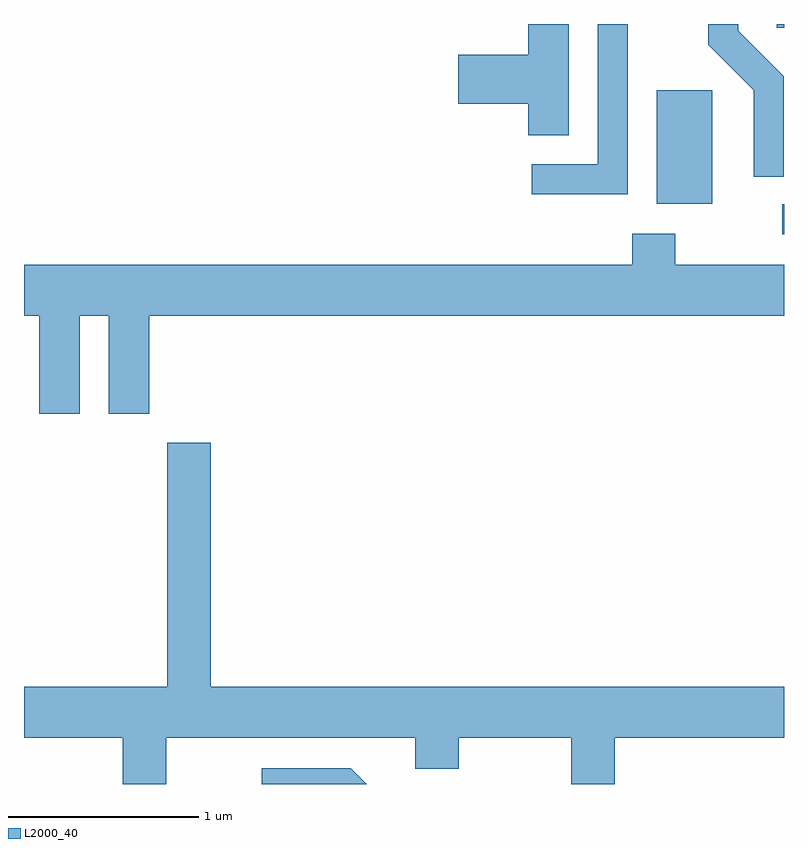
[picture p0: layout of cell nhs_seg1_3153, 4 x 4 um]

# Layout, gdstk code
import gdstk
lib = gdstk.Library(unit=1e-6, precision=1e-09)
def R(c, l, rs):  # rectangles x0, y0, x1, y1
    for r in rs: c.add(gdstk.rectangle(r[:2], r[2:], *l))
def P(c, l, *ps):  # polygons
    for p in ps: c.add(gdstk.Polygon(p, *l))
L2000_40 = (2000, 40)

nhs_seg1_3153 = lib.new_cell('nhs_seg1_3153')
R(nhs_seg1_3153, L2000_40, [(283.603,966.606,283.611,966.764), (282.941,966.766,283.234,967.364), (283.573,967.691,283.611,967.712)])
P(nhs_seg1_3153, L2000_40, [(282.789,967.712),(282.631,967.712),(282.631,966.974),(282.283,966.974),(282.283,966.816),(282.789,966.816)],
  [(283.609,967.437),(283.369,967.677),(283.369,967.712),(283.211,967.712),(283.211,967.604),(283.451,967.364),(283.451,966.908),(283.609,966.908)],
  [(282.479,967.712),(282.266,967.712),(282.266,967.549),(281.896,967.549),(281.896,967.291),(282.266,967.291),(282.266,967.126),(282.479,967.126)],
  [(279.904,966.176),(280.056,966.176),(280.056,965.661),(280.269,965.661),(280.269,966.176),(283.611,966.176),(283.611,966.444),(283.039,966.444),(283.039,966.609),(282.811,966.609),(282.811,966.444),(279.611,966.444),(279.611,966.176),(279.691,966.176),(279.691,965.661),(279.904,965.661)],
  [(279.611,963.956),(280.131,963.956),(280.131,963.712),(280.359,963.712),(280.359,963.956),(281.671,963.956),(281.671,963.791),(281.899,963.791),(281.899,963.956),(282.491,963.956),(282.491,963.712),(282.719,963.712),(282.719,963.956),(283.611,963.956),(283.611,964.224),(280.594,964.224),(280.594,965.509),(280.366,965.509),(280.366,964.224),(279.611,964.224)],
  [(281.332,963.794),(280.863,963.794),(280.863,963.712),(281.414,963.712)])

lib.write_gds('nhs_seg1_3153.gds')
